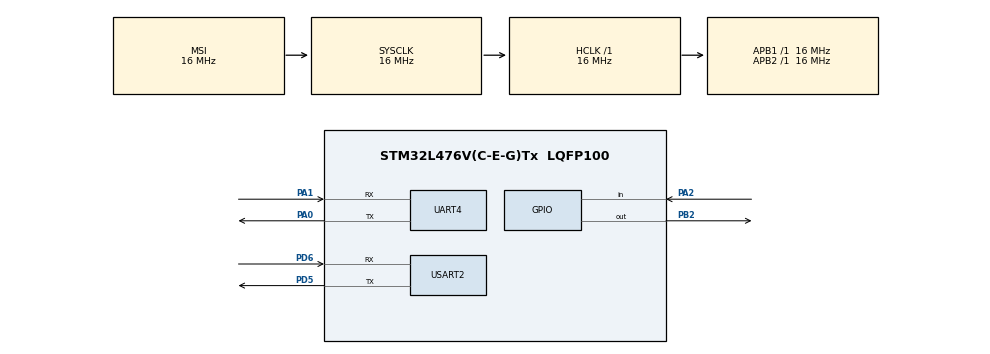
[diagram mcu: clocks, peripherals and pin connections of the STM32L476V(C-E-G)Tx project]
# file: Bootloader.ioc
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Mcu.Family=STM32L4
Mcu.Name=STM32L476V(C-E-G)Tx
Mcu.Package=LQFP100
NVIC.PriorityGroup=NVIC_PRIORITYGROUP_4
PA0.Mode=Asynchronous
PA0.Signal=UART4_TX
PA1.Mode=Asynchronous
PA1.Signal=UART4_RX
PA2.Signal=GPIO_Input
PB2.Signal=GPIO_Output
PD5.Mode=Asynchronous
PD5.Signal=USART2_TX
PD6.Mode=Asynchronous
PD6.Signal=USART2_RX
ProjectManager.HeapSize=0x200
ProjectManager.StackSize=0x400
ProjectManager.TargetToolchain=SW4STM32
RCC.ADCFreq_Value=64000000
RCC.AHBFreq_Value=16000000
RCC.APB1Freq_Value=16000000
RCC.APB1TimFreq_Value=16000000
RCC.APB2Freq_Value=16000000
RCC.APB2TimFreq_Value=16000000
RCC.CortexFreq_Value=16000000
RCC.HCLKFreq_Value=16000000
RCC.HSE_VALUE=8000000
RCC.HSI_VALUE=16000000
RCC.LSE_VALUE=32768
RCC.MSIClockRange=RCC_MSIRANGE_8
RCC.MSI_VALUE=16000000
RCC.PREFETCH_ENABLE=1
RCC.SYSCLKFreq_VALUE=16000000
RCC.USBFreq_Value=64000000
RCC.VCOOutputFreq_Value=128000000
USART2.VirtualMode-Asynchronous=VM_ASYNC
VP_CRC_VS_CRC.Mode=CRC_Activate
board=32L476GDISCOVERY

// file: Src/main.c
/* USER CODE BEGIN Header */
/**
  ******************************************************************************
  * @file           : main.c
  * @brief          : Main program body
  ******************************************************************************
  * @attention
  *
  * <h2><center>&copy; Copyright (c) 2020 STMicroelectronics.
  * All rights reserved.</center></h2>
  *
  * This software component is licensed by ST under BSD 3-Clause license,
  * the "License"; You may not use this file except in compliance with the
  * License. You may obtain a copy of the License at:
  *                        opensource.org/licenses/BSD-3-Clause
  *
  ******************************************************************************
  */
/* USER CODE END Header */

#include "main.h"

/* USER CODE BEGIN PD */
#define USER_APPLICATION_ADDRESS		0x800A000
/* USER CODE END PD */

CRC_HandleTypeDef hcrc;

UART_HandleTypeDef huart4;
UART_HandleTypeDef huart2;

/* USER CODE BEGIN PV */
#define BL_RCV_BUF_LENGTH		300
uint8_t bl_rcv_buffer[BL_RCV_BUF_LENGTH];
/* USER CODE END PV */

void SystemClock_Config(void);
static void MX_GPIO_Init(void);
static void MX_CRC_Init(void);
static void MX_UART4_Init(void);
static void MX_USART2_UART_Init(void);
/* USER CODE BEGIN PFP */
void bootloader_uart_readdata(void);
void bootloader_uart_write_data(uint8_t *pTxBuff,uint16_t txlen);

void booloader_to_jump_application(void);
void bootloader_handle_getver_cmd(uint8_t *buff);
void bootloader_handle_gethelp_cmd(uint8_t *buff);
void bootloader_handle_getcid_cmd(uint8_t *buff);
void bootloader_handle_getrdpstatus_cmd(uint8_t *buff);
void bootloader_handle_gotoaddress_cmd(uint8_t *buff);
void bootloader_handle_flasherase_cmd(uint8_t *buff);
void bootloader_handle_memwrite_cmd(uint8_t *buff);
void bootloader_handle_enableRWprotect_cmd(uint8_t *buff);
void bootloader_handle_memread_cmd(uint8_t *buff);
void bootloader_handle_sectorstatus_cmd(uint8_t *buff);
void bootloader_handle_otpread_cmd(uint8_t *buff);
void bootloader_handle_disableRWprotect_cmd(uint8_t *buff);

void bootloader_send_ack(uint8_t command,uint8_t follow_len);
void bootloader_send_nack(void);
uint8_t bootloader_crc_verify(volatile uint8_t *pBuff,uint32_t bufflength,uint32_t crc_host);

uint8_t get_bootloader_version(void);
uint16_t get_mcu_chip_id(void);
uint8_t get_rdp_status_of_flash(void);
uint8_t execute_flash_erase(uint8_t,uint8_t);
uint8_t executed_mem_write(volatile uint8_t*,volatile uint32_t,volatile uint8_t);
/* USER CODE END PFP */

int main(void)
{
  /* USER CODE BEGIN 1 */
	char  somedata[] = "Hello from bootloader\r\n";
	uint8_t pinStatus = 0;
  /* USER CODE END 1 */

  /* MCU Configuration--------------------------------------------------------*/

  /* Reset of all peripherals, Initializes the Flash interface and the Systick. */
  HAL_Init();

  /* Configure the system clock */
  SystemClock_Config();

  /* Initialize all configured peripherals */
  MX_GPIO_Init();
  MX_CRC_Init();
  MX_UART4_Init();
  MX_USART2_UART_Init();
  /* USER CODE BEGIN 2 */
  HAL_UART_Transmit(&huart2, (uint8_t *)somedata,sizeof(somedata), HAL_MAX_DELAY);
  pinStatus = HAL_GPIO_ReadPin(GPIOA,GPIO_PIN_2);
  HAL_Delay(500);
  //HAL_GPIO_WritePin(GPIOB,GPIO_PIN_2,GPIO_PIN_SET);
  if(pinStatus == GPIO_PIN_SET)
  {
	  HAL_GPIO_WritePin(GPIOB,GPIO_PIN_2,GPIO_PIN_SET);
	  bootloader_uart_readdata();
  }
  else
  {
	  HAL_GPIO_WritePin(GPIOB,GPIO_PIN_2,GPIO_PIN_RESET);
	  booloader_to_jump_application();
  }

  /* USER CODE END 2 */

  /* Infinite loop */
  /* USER CODE BEGIN WHILE */
  while (1)
  {

  }
}

void SystemClock_Config(void)
{
  RCC_OscInitTypeDef RCC_OscInitStruct = {0};
  RCC_ClkInitTypeDef RCC_ClkInitStruct = {0};
  RCC_PeriphCLKInitTypeDef PeriphClkInit = {0};

  /** Initializes the CPU, AHB and APB busses clocks
  */
  RCC_OscInitStruct.OscillatorType = RCC_OSCILLATORTYPE_MSI;
  RCC_OscInitStruct.MSIState = RCC_MSI_ON;
  RCC_OscInitStruct.MSICalibrationValue = 0;
  RCC_OscInitStruct.MSIClockRange = RCC_MSIRANGE_8;
  RCC_OscInitStruct.PLL.PLLState = RCC_PLL_NONE;
  if (HAL_RCC_OscConfig(&RCC_OscInitStruct) != HAL_OK)
  {
    Error_Handler();
  }
  /** Initializes the CPU, AHB and APB busses clocks
  */
  RCC_ClkInitStruct.ClockType = RCC_CLOCKTYPE_HCLK|RCC_CLOCKTYPE_SYSCLK
                              |RCC_CLOCKTYPE_PCLK1|RCC_CLOCKTYPE_PCLK2;
  RCC_ClkInitStruct.SYSCLKSource = RCC_SYSCLKSOURCE_MSI;
  RCC_ClkInitStruct.AHBCLKDivider = RCC_SYSCLK_DIV1;
  RCC_ClkInitStruct.APB1CLKDivider = RCC_HCLK_DIV1;
  RCC_ClkInitStruct.APB2CLKDivider = RCC_HCLK_DIV1;

  if (HAL_RCC_ClockConfig(&RCC_ClkInitStruct, FLASH_LATENCY_0) != HAL_OK)
  {
    Error_Handler();
  }
  PeriphClkInit.PeriphClockSelection = RCC_PERIPHCLK_USART2|RCC_PERIPHCLK_UART4;
  PeriphClkInit.Usart2ClockSelection = RCC_USART2CLKSOURCE_PCLK1;
  PeriphClkInit.Uart4ClockSelection = RCC_UART4CLKSOURCE_PCLK1;
  if (HAL_RCCEx_PeriphCLKConfig(&PeriphClkInit) != HAL_OK)
  {
    Error_Handler();
  }
  /** Configure the main internal regulator output voltage
  */
  if (HAL_PWREx_ControlVoltageScaling(PWR_REGULATOR_VOLTAGE_SCALE1) != HAL_OK)
  {
    Error_Handler();
  }
}

static void MX_CRC_Init(void)
{

  hcrc.Instance = CRC;
  hcrc.Init.DefaultPolynomialUse = DEFAULT_POLYNOMIAL_ENABLE;
  hcrc.Init.DefaultInitValueUse = DEFAULT_INIT_VALUE_ENABLE;
  hcrc.Init.InputDataInversionMode = CRC_INPUTDATA_INVERSION_NONE;
  hcrc.Init.OutputDataInversionMode = CRC_OUTPUTDATA_INVERSION_DISABLE;
  hcrc.InputDataFormat = CRC_INPUTDATA_FORMAT_WORDS;
  if (HAL_CRC_Init(&hcrc) != HAL_OK)
  {
    Error_Handler();
  }

}

static void MX_UART4_Init(void)
{

  huart4.Instance = UART4;
  huart4.Init.BaudRate = 115200;
  huart4.Init.WordLength = UART_WORDLENGTH_8B;
  huart4.Init.StopBits = UART_STOPBITS_1;
  huart4.Init.Parity = UART_PARITY_NONE;
  huart4.Init.Mode = UART_MODE_TX_RX;
  huart4.Init.HwFlowCtl = UART_HWCONTROL_NONE;
  huart4.Init.OverSampling = UART_OVERSAMPLING_16;
  huart4.Init.OneBitSampling = UART_ONE_BIT_SAMPLE_DISABLE;
  huart4.AdvancedInit.AdvFeatureInit = UART_ADVFEATURE_NO_INIT;
  if (HAL_UART_Init(&huart4) != HAL_OK)
  {
    Error_Handler();
  }

}

static void MX_USART2_UART_Init(void)
{

  huart2.Instance = USART2;
  huart2.Init.BaudRate = 115200;
  huart2.Init.WordLength = UART_WORDLENGTH_8B;
  huart2.Init.StopBits = UART_STOPBITS_1;
  huart2.Init.Parity = UART_PARITY_NONE;
  huart2.Init.Mode = UART_MODE_TX_RX;
  huart2.Init.HwFlowCtl = UART_HWCONTROL_NONE;
  huart2.Init.OverSampling = UART_OVERSAMPLING_16;
  huart2.Init.OneBitSampling = UART_ONE_BIT_SAMPLE_DISABLE;
  huart2.AdvancedInit.AdvFeatureInit = UART_ADVFEATURE_NO_INIT;
  if (HAL_UART_Init(&huart2) != HAL_OK)
  {
    Error_Handler();
  }

}

static void MX_GPIO_Init(void)
{
  GPIO_InitTypeDef GPIO_InitStruct = {0};

  /* GPIO Ports Clock Enable */
  __HAL_RCC_GPIOA_CLK_ENABLE();
  __HAL_RCC_GPIOB_CLK_ENABLE();
  __HAL_RCC_GPIOD_CLK_ENABLE();

  /*Configure GPIO pin Output Level */
  HAL_GPIO_WritePin(GPIOB, GPIO_PIN_2, GPIO_PIN_RESET);

  /*Configure GPIO pin : PA2 */
  GPIO_InitStruct.Pin = GPIO_PIN_2;
  GPIO_InitStruct.Mode = GPIO_MODE_INPUT;
  GPIO_InitStruct.Pull = GPIO_PULLDOWN;
  HAL_GPIO_Init(GPIOA, &GPIO_InitStruct);

  /*Configure GPIO pin : PB2 */
  GPIO_InitStruct.Pin = GPIO_PIN_2;
  GPIO_InitStruct.Mode = GPIO_MODE_OUTPUT_PP;
  GPIO_InitStruct.Pull = GPIO_NOPULL;
  GPIO_InitStruct.Speed = GPIO_SPEED_FREQ_LOW;
  HAL_GPIO_Init(GPIOB, &GPIO_InitStruct);

}

/* USER CODE BEGIN 4 */
void bootloader_uart_readdata(void)
{
	uint16_t received_length = 0;

	while(1)
	{
		memset(bl_rcv_buffer,0,BL_RCV_BUF_LENGTH);
		HAL_UART_Receive(&huart2,(uint8_t *)bl_rcv_buffer,1,HAL_MAX_DELAY);
		received_length = bl_rcv_buffer[0];
		HAL_UART_Receive(&huart2,(uint8_t *)&bl_rcv_buffer[1],received_length,HAL_MAX_DELAY);

		switch(bl_rcv_buffer[1])
		{
		case BL_GET_VER:
			bootloader_handle_getver_cmd(bl_rcv_buffer);
			break;
		case BL_GET_HELP:
			bootloader_handle_gethelp_cmd(bl_rcv_buffer);
			break;
		case BL_GET_CID:
			bootloader_handle_getcid_cmd(bl_rcv_buffer);
			break;
		case BL_GET_RDP_STATUS:
			bootloader_handle_getrdpstatus_cmd(bl_rcv_buffer);
			break;
		case BL_GO_TO_ADDR:
			bootloader_handle_gotoaddress_cmd(bl_rcv_buffer);
			break;
		case BL_FLASH_ERASE:
			bootloader_handle_flasherase_cmd(bl_rcv_buffer);
			break;
		case BL_MEM_WRITE:
			bootloader_handle_memwrite_cmd(bl_rcv_buffer);
			break;
		case BL_EN_R_W_PROTECT:
			bootloader_handle_enableRWprotect_cmd(bl_rcv_buffer);
			break;
		case BL_MEM_READ:
			bootloader_handle_memread_cmd(bl_rcv_buffer);
			break;
		case BL_READ_SECTOR_STATUS:
			bootloader_handle_sectorstatus_cmd(bl_rcv_buffer);
			break;
		case BL_OTP_READ:
			bootloader_handle_otpread_cmd(bl_rcv_buffer);
			break;
		case BL_DIS_R_W_PROTECT:
			bootloader_handle_disableRWprotect_cmd(bl_rcv_buffer);
			break;

		default:
			Error_Handler();
			break;

		}
	}

}

void bootloader_uart_write_data(uint8_t *pTxBuff,uint16_t txlen)
{
	HAL_UART_Transmit(&huart2,pTxBuff,txlen,HAL_MAX_DELAY);
}

void bootloader_send_ack(uint8_t command,uint8_t follow_len)
{
	uint8_t ack_buff[2];
	ack_buff[0] = BL_ACK;
	ack_buff[1] = follow_len;

	HAL_UART_Transmit(&huart2,ack_buff,2,HAL_MAX_DELAY);

}

void bootloader_send_nack(void)
{
	uint8_t send_nack = BL_NACK;

	HAL_UART_Transmit(&huart2,&send_nack,1,HAL_MAX_DELAY);
}

uint8_t bootloader_crc_verify(volatile uint8_t *pBuff,uint32_t bufflength,uint32_t crc_host)
{
	volatile uint32_t uwCRCValue = 0xFF;
	volatile uint32_t BuffData = 0;
	volatile uint8_t crc_status = VERIFY_CRC_FAILED;
	volatile uint32_t len = bufflength;
	volatile uint32_t rcv_crc = crc_host;

	for(uint32_t i=0;i<len;i++)
	{
		BuffData = pBuff[i];
		uwCRCValue = HAL_CRC_Accumulate(&hcrc,&BuffData,1);
	}
	__HAL_CRC_DR_RESET(&hcrc);
	if(uwCRCValue == rcv_crc)
	{
		crc_status = VERIFY_CRC_SUCCESS;
	}

	return crc_status;
}

void bootloader_handle_getver_cmd(uint8_t *bl_rcv_buff)
{
	uint8_t bl_version = 0;

	uint32_t command_packet_length = bl_rcv_buff[0] + 1;

	uint32_t crc_host = *((uint32_t *)(bl_rcv_buff + command_packet_length -4));

	if(!bootloader_crc_verify(bl_rcv_buff,command_packet_length -4,crc_host))
	{
		bootloader_send_ack(bl_rcv_buff[1],1);
		bl_version = get_bootloader_version();

		bootloader_uart_write_data(&bl_version,1);

	}
	else
	{
		bootloader_send_nack();
	}

}
void bootloader_handle_gethelp_cmd(uint8_t *bl_rcv_buff)
{
	uint8_t bootaloader_commands[] = {BL_GET_VER,
			BL_GET_HELP		    ,
			BL_GET_CID		    ,
			BL_GET_RDP_STATUS   ,
			BL_GO_TO_ADDR	    ,
			BL_FLASH_ERASE	    ,
			BL_MEM_WRITE	    ,
			BL_EN_R_W_PROTECT   ,
			BL_MEM_READ		    ,
			BL_READ_SECTOR_STATUS,
			BL_OTP_READ		    ,
			BL_DIS_R_W_PROTECT };

	uint32_t command_packet_length = bl_rcv_buff[0] + 1;

	uint32_t crc_host = *((uint32_t *)(bl_rcv_buff + command_packet_length -4));

	if(!bootloader_crc_verify(bl_rcv_buff,command_packet_length -4,crc_host))
	{
		bootloader_send_ack(bl_rcv_buff[1],sizeof(bootaloader_commands));
		bootloader_uart_write_data(bootaloader_commands,sizeof(bootaloader_commands));

	}
	else
	{
		bootloader_send_nack();
	}
}
void bootloader_handle_getcid_cmd(uint8_t *bl_rcv_buff)
{

	uint16_t chip_identification = 0;
	uint8_t cid_buf[2];

	uint32_t command_packet_length = bl_rcv_buff[0] + 1;

	uint32_t crc_host = *((uint32_t *)(bl_rcv_buff + command_packet_length -4));

	if(!bootloader_crc_verify(bl_rcv_buff,command_packet_length -4,crc_host))
	{
		bootloader_send_ack(bl_rcv_buff[1],sizeof(chip_identification));
		chip_identification = get_mcu_chip_id();
		cid_buf[0] = chip_identification & 0xFF;
		cid_buf[1] = (chip_identification >> 8) & 0xFF;
		bootloader_uart_write_data(cid_buf,sizeof(cid_buf));

	}
	else
	{
		bootloader_send_nack();
	}

}
void bootloader_handle_getrdpstatus_cmd(uint8_t *bl_rcv_buff)
{
	uint8_t rdp_status = 0;

	uint32_t command_packet_length = bl_rcv_buff[0] + 1;

	uint32_t crc_host = *((uint32_t *)(bl_rcv_buff + command_packet_length -4));

	if(!bootloader_crc_verify(bl_rcv_buff,command_packet_length -4,crc_host))
	{
		bootloader_send_ack(bl_rcv_buff[1],sizeof(rdp_status));
		rdp_status = get_rdp_status_of_flash();
		bootloader_uart_write_data(&rdp_status,sizeof(rdp_status));

	}
	else
	{
		bootloader_send_nack();
	}
}
void bootloader_handle_gotoaddress_cmd(uint8_t *bl_rcv_buff)
{
	uint8_t address_status = ADDR_INVALID;
	void (*jump_to_app)(void);

	uint32_t goto_address;

	uint32_t command_packet_length = bl_rcv_buff[0] + 1;

	goto_address = *(uint32_t *)(bl_rcv_buff + 2);

	uint32_t crc_host = *((uint32_t *)(bl_rcv_buff + command_packet_length -4));

	if(!bootloader_crc_verify(bl_rcv_buff,command_packet_length -4,crc_host))
	{
		bootloader_send_ack(bl_rcv_buff[1],1);
		if(goto_address == 0x0800c265)
		{
			address_status = ADDR_VALID;
			bootloader_uart_write_data(&address_status,sizeof(address_status));

			jump_to_app = (void*)(goto_address);

			jump_to_app();

		}
		else
		{
			address_status = ADDR_INVALID;
			bootloader_uart_write_data(&address_status,sizeof(address_status));
		}
	}
	else
	{
		bootloader_send_nack();
	}
}
void bootloader_handle_flasherase_cmd(uint8_t *bl_rcv_buff)
{

	uint8_t erase_status;

	uint32_t command_packet_length = bl_rcv_buff[0] + 1;

	uint32_t crc_host = *((uint32_t *)(bl_rcv_buff + command_packet_length -4));

	if(!bootloader_crc_verify(bl_rcv_buff,command_packet_length -4,crc_host))
	{
		erase_status = execute_flash_erase(bl_rcv_buff[2],bl_rcv_buff[3]);
		bootloader_uart_write_data(&erase_status,sizeof(erase_status));

	}
	else
	{
		bootloader_send_nack();
	}
}
void bootloader_handle_memwrite_cmd(uint8_t *bl_rcv_buff)
{
	uint8_t valid_address = ADDR_VALID;
	uint8_t len = 0,checksum = 0;
	uint32_t mem_address;
	uint8_t write_status = 0;
	uint32_t command_packet_length = bl_rcv_buff[0] + 1;
	uint8_t payload_len = bl_rcv_buff[6];

	mem_address = *(uint32_t *)(bl_rcv_buff + 2);
	len = bl_rcv_buff[0];
	checksum = bl_rcv_buff[len];
	uint32_t crc_host = *((uint32_t *)(bl_rcv_buff + command_packet_length -4));

	if(!bootloader_crc_verify(bl_rcv_buff,command_packet_length -4,crc_host))
	{
		bootloader_send_ack(bl_rcv_buff[1],1);
		if(1)
		{
			valid_address = ADDR_VALID;
			write_status = executed_mem_write(&bl_rcv_buff[7],mem_address,payload_len);
			bootloader_uart_write_data(&valid_address,sizeof(valid_address));
		}
	}
	else
	{
		bootloader_send_nack();
	}
}
void bootloader_handle_enableRWprotect_cmd(uint8_t *bl_rcv_buff)
{

}
void bootloader_handle_memread_cmd(uint8_t *bl_rcv_buff)
{

}
void bootloader_handle_sectorstatus_cmd(uint8_t *bl_rcv_buff)
{

}
void bootloader_handle_otpread_cmd(uint8_t *bl_rcv_buff)
{

}
void bootloader_handle_disableRWprotect_cmd(uint8_t *bl_rcv_buff)
{

}

void booloader_to_jump_application(void)
{

	void (*jump_to_app)(void);
	uint32_t MSPvalue = 0;
	uint32_t resethandler_address = 0;

	MSPvalue = *(volatile uint32_t *)(0x08000000UL + 0xA000);
	__set_MSP(MSPvalue);
	resethandler_address = *((volatile uint32_t *)(0x08000000UL + 0xA000 + 0x04));
	jump_to_app = (void*)resethandler_address;

	jump_to_app();

}

uint16_t get_mcu_chip_id(void)
{
	uint16_t dev_id = 0;

	dev_id = (DBGMCU->IDCODE & 0xFFF);

	return dev_id;
}

uint8_t get_rdp_status_of_flash(void)
{
#if 0
	volatile uint32_t *OBaddr = (volatile uint32_t *)0x1FFF7800;
	uint8_t rdp_status = *OBaddr & 0xFF;

	return rdp_status;
#else if
	uint32_t rdp_status = 0;
	FLASH_OBProgramInitTypeDef Obstatus;
	HAL_FLASHEx_OBGetConfig(&Obstatus);
	return (uint8_t)Obstatus.RDPLevel;
#endif
}

uint8_t get_bootloader_version(void)
{
	return BL_VERSION;
}

uint8_t execute_flash_erase(uint8_t pagenumber,uint8_t numberofpages)
{
	FLASH_EraseInitTypeDef flashhandle;

	uint32_t error = 0;
	uint8_t status = 0;

	memset(&flashhandle,0,sizeof(flashhandle));
	if(pagenumber == 0xFF)
	{
		flashhandle.Banks = FLASH_BANK_1;
		flashhandle.TypeErase = FLASH_TYPEERASE_MASSERASE;
		flashhandle.Page = pagenumber;
		flashhandle.NbPages = numberofpages;
	}
	else
	{
		flashhandle.Banks = FLASH_BANK_1;
		flashhandle.TypeErase = FLASH_TYPEERASE_PAGES;
		flashhandle.Page = pagenumber;
		flashhandle.NbPages = numberofpages;
	}
	HAL_FLASH_Unlock();
	status = HAL_FLASHEx_Erase(&flashhandle,&error);
	HAL_FLASH_Lock();
	return status;
}

uint8_t executed_mem_write(volatile uint8_t* buff, uint32_t address, uint8_t len)
{
	uint8_t write_status = 0;
	uint32_t add = 0;
	uint64_t data=0;
	HAL_FLASH_Unlock();

	for(uint32_t i=0;i<len;i=i+8)
	{
/*		data |= buff[i];
		data |= (buff[i+1] << 8);
		data |= (buff[i+2] << 16);
		data |= (buff[i+3] << 24);
		data |= (buff[i+4] << 32);
		data |= (buff[i+5] << 40);
		data |= (buff[i+6] << 48);
		data |= (buff[i+7] << 56);*/

		data = (*((uint32_t *)(buff+i)));
		data |= (uint64_t)(*((uint32_t *)(buff+i+4))) << 32;
		add = address+i;
		write_status = HAL_FLASH_Program(FLASH_TYPEPROGRAM_DOUBLEWORD,add,data);
	}

	HAL_FLASH_Lock();
	return write_status;
}
/* USER CODE END 4 */

void Error_Handler(void)
{
}

/************************ (C) COPYRIGHT STMicroelectronics *****END OF FILE****/
